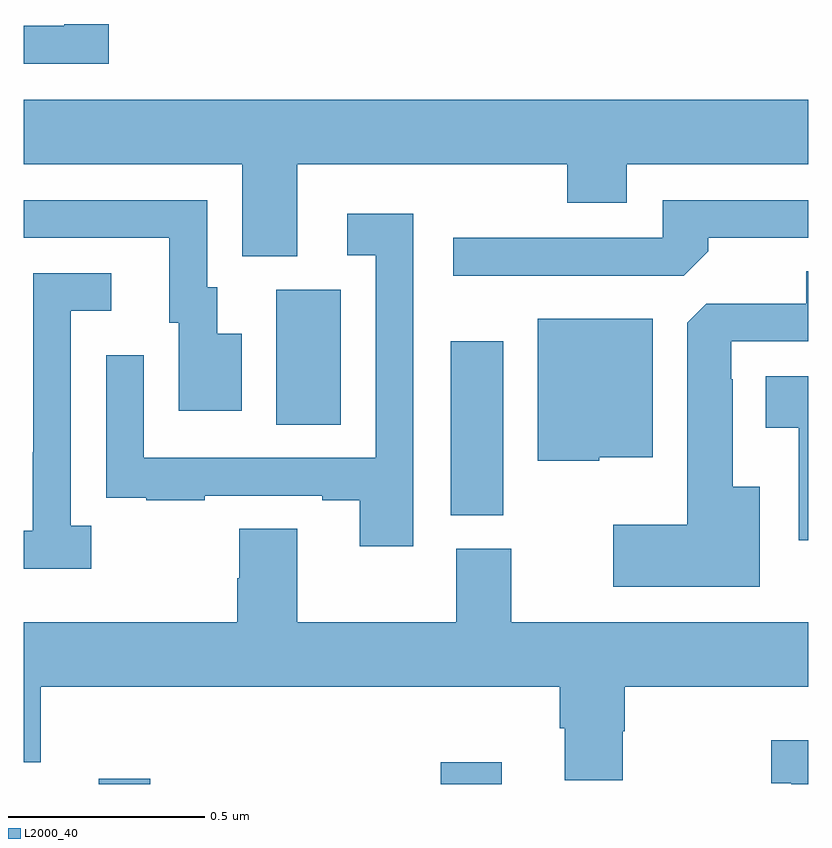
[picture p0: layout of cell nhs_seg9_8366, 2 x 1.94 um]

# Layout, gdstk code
import gdstk
lib = gdstk.Library(unit=1e-6, precision=1e-09)
def R(c, l, rs):  # rectangles x0, y0, x1, y1
    for r in rs: c.add(gdstk.rectangle(r[:2], r[2:], *l))
def P(c, l, *ps):  # polygons
    for p in ps: c.add(gdstk.Polygon(p, *l))
L2000_40 = (2000, 40)

nhs_seg9_8366 = lib.new_cell('nhs_seg9_8366')
R(nhs_seg9_8366, L2000_40, [(216.191,1201.5,216.323,1201.513), (217.063,1201.5,217.219,1201.555), (217.088,1202.185,217.222,1202.629), (216.644,1202.416,216.808,1202.76)])
P(nhs_seg9_8366, L2000_40, [(216.217,1203.437),(216.104,1203.437),(216.104,1203.432),(216,1203.432),(216,1203.336),(216.217,1203.336)],
  [(216.697,1203.08),(217.385,1203.08),(217.385,1202.981),(217.537,1202.981),(217.537,1203.08),(218,1203.08),(218,1203.244),(216,1203.244),(216,1203.08),(216.557,1203.08),(216.557,1202.845),(216.697,1202.845)],
  [(217.745,1202.858),(217.745,1202.892),(218,1202.892),(218,1202.988),(217.629,1202.988),(217.629,1202.892),(217.095,1202.892),(217.095,1202.796),(217.683,1202.796)],
  [(216.556,1202.647),(216.493,1202.647),(216.493,1202.766),(216.468,1202.766),(216.468,1202.988),(216,1202.988),(216,1202.892),(216.371,1202.892),(216.371,1202.676),(216.395,1202.676),(216.395,1202.451),(216.556,1202.451)],
  [(216.993,1202.953),(216.825,1202.953),(216.825,1202.847),(216.897,1202.847),(216.897,1202.331),(216.306,1202.331),(216.306,1202.593),(216.21,1202.593),(216.21,1202.338),(216.211,1202.338),(216.211,1202.229),(216.313,1202.229),(216.313,1202.223),(216.461,1202.223),(216.461,1202.235),(216.761,1202.235),(216.761,1202.223),(216.857,1202.223),(216.857,1202.106),(216.993,1202.106)],
  [(217.876,1202.257),(217.807,1202.257),(217.807,1202.531),(217.803,1202.531),(217.803,1202.628),(218,1202.628),(218,1202.807),(217.994,1202.807),(217.994,1202.724),(217.74,1202.724),(217.691,1202.675),(217.691,1202.161),(217.503,1202.161),(217.503,1202.003),(217.876,1202.003)],
  [(216.172,1202.158),(216.12,1202.158),(216.12,1202.706),(216.223,1202.706),(216.223,1202.802),(216.024,1202.802),(216.024,1202.345),(216.023,1202.345),(216.023,1202.145),(216,1202.145),(216,1202.048),(216.172,1202.048)],
  [(217.467,1202.333),(217.603,1202.333),(217.603,1202.686),(217.31,1202.686),(217.31,1202.324),(217.467,1202.324)],
  [(218,1202.539),(217.892,1202.539),(217.892,1202.408),(217.976,1202.408),(217.976,1202.121),(218,1202.121)],
  [(217.527,1201.635),(217.532,1201.635),(217.532,1201.748),(218,1201.748),(218,1201.912),(217.243,1201.912),(217.243,1202.1),(217.103,1202.1),(217.103,1201.912),(216.697,1201.912),(216.697,1202.15),(216.55,1202.15),(216.55,1202.025),(216.545,1202.025),(216.545,1201.912),(216,1201.912),(216,1201.556),(216.044,1201.556),(216.044,1201.748),(217.367,1201.748),(217.367,1201.642),(217.379,1201.642),(217.379,1201.51),(217.527,1201.51)],
  [(218,1201.612),(217.905,1201.612),(217.905,1201.502),(217.956,1201.502),(217.956,1201.5),(218,1201.5)])

lib.write_gds('nhs_seg9_8366.gds')
